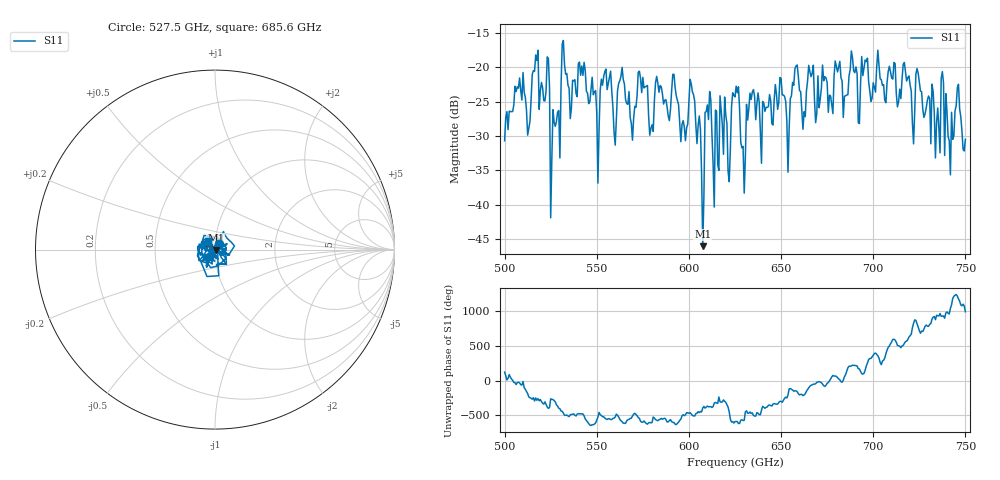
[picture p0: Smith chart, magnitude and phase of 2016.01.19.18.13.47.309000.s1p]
!Created with skrf (http://scikit-rf.org).
# GHz S RI R 50.0
!freq ReS11 ImS11
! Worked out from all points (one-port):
!   401 points, 500 GHz to 750 GHz, reference 50 ohm
!   lowest |S11| = -46.0 dB at 607.5 GHz (marker M1), VSWR 1.01, Z = 50.4 - j0.277 ohm
!   |S11| at or under -10 dB: start of sweep to end of sweep
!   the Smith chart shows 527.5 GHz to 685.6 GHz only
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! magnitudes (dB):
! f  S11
! 500 GHz  -30.7
! 506.9 GHz  -22.9
! 513.1 GHz  -28.9
! 516.9 GHz  -18.2
! 523.1 GHz  -18.5
! 526.2 GHz  -26.2
! 531.2 GHz  -16.6
! 550 GHz  -26.6
! 562.5 GHz  -22.0
! 569.4 GHz  -30.6
! 573.8 GHz  -21.6
! 579.4 GHz  -28.9
! 583.1 GHz  -22.3
! 593.8 GHz  -24.8
! 601.9 GHz  -23.6
! 607.5 GHz  -46.0
! 610 GHz  -25.5
! 621.2 GHz  -35.2
! 625 GHz  -24.3
! 629.4 GHz  -31.5
! 634.4 GHz  -23.6
! 653.8 GHz  -35.3
! 656.2 GHz  -22.2
! 687.5 GHz  -20.4
! 718.8 GHz  -21.5
! 741.9 GHz  -35.7
! 746.2 GHz  -22.5
! 750 GHz  -30.5
